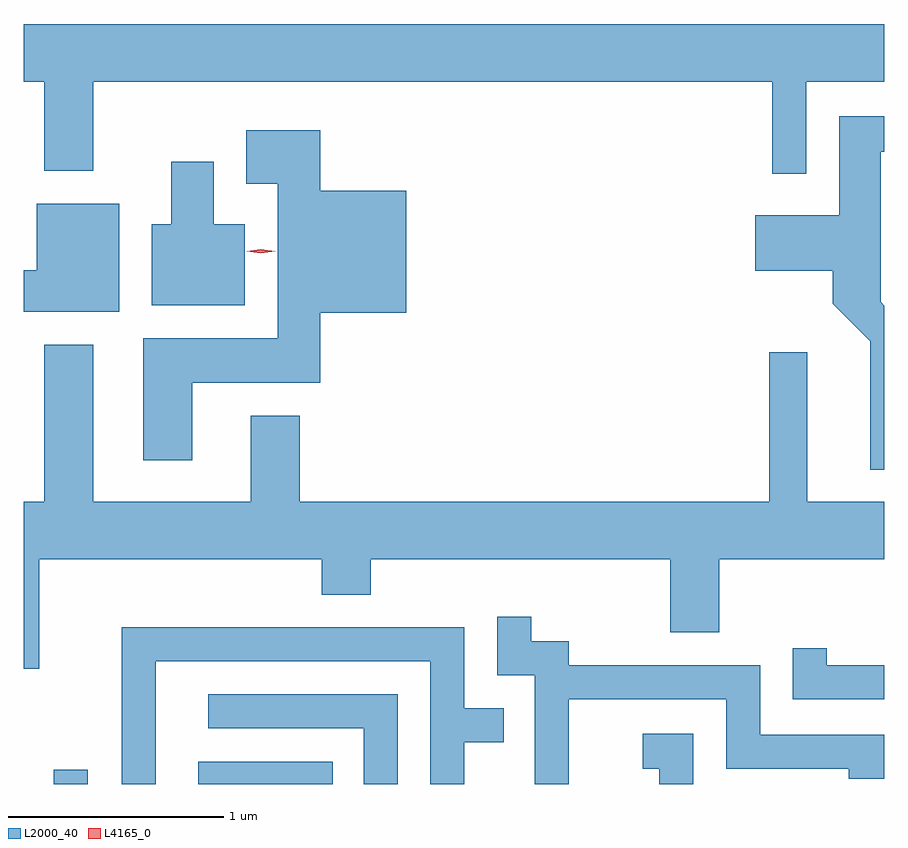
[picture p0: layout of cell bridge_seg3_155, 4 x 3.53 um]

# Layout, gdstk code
import gdstk
lib = gdstk.Library(unit=1e-6, precision=1e-09)
def R(c, l, rs):  # rectangles x0, y0, x1, y1
    for r in rs: c.add(gdstk.rectangle(r[:2], r[2:], *l))
def P(c, l, *ps):  # polygons
    for p in ps: c.add(gdstk.Polygon(p, *l))
L2000_40 = (2000, 40)
L4165_0 = (4165, 0)

bridge_seg3_155 = lib.new_cell('bridge_seg3_155')
R(bridge_seg3_155, L2000_40, [(828.826,1207.111,828.984,1207.178), (829.496,1207.111,830.123,1207.214)])
P(bridge_seg3_155, L2000_40, [(832.324,1210.376),(832.686,1210.376),(832.686,1210.644),(828.686,1210.644),(828.686,1210.376),(828.781,1210.376),(828.781,1209.961),(829.009,1209.961),(829.009,1210.376),(832.166,1210.376),(832.166,1209.948),(832.324,1209.948)],
  [(832.686,1209.335),(832.669,1209.352),(832.669,1210.051),(832.686,1210.051),(832.686,1210.214),(832.476,1210.214),(832.476,1209.754),(832.086,1209.754),(832.086,1209.496),(832.446,1209.496),(832.446,1209.344),(832.621,1209.169),(832.621,1208.573),(832.686,1208.573)],
  [(829.469,1208.976),(830.064,1208.976),(830.064,1209.301),(830.464,1209.301),(830.464,1209.869),(830.064,1209.869),(830.064,1210.149),(829.721,1210.149),(829.721,1209.901),(829.866,1209.901),(829.866,1209.184),(829.241,1209.184),(829.241,1208.616),(829.469,1208.616)],
  [(829.714,1209.714),(829.569,1209.714),(829.569,1210.004),(829.371,1210.004),(829.371,1209.714),(829.281,1209.714),(829.281,1209.336),(829.714,1209.336)],
  [(829.129,1209.809),(828.746,1209.809),(828.746,1209.499),(828.686,1209.499),(828.686,1209.306),(829.129,1209.306)],
  [(828.759,1208.156),(830.071,1208.156),(830.071,1207.991),(830.299,1207.991),(830.299,1208.156),(831.691,1208.156),(831.691,1207.816),(831.919,1207.816),(831.919,1208.156),(832.686,1208.156),(832.686,1208.424),(832.329,1208.424),(832.329,1209.119),(832.151,1209.119),(832.151,1208.424),(829.969,1208.424),(829.969,1208.824),(829.741,1208.824),(829.741,1208.424),(829.009,1208.424),(829.009,1209.154),(828.781,1209.154),(828.781,1208.424),(828.686,1208.424),(828.686,1207.646),(828.759,1207.646)],
  [(831.219,1207.506),(831.951,1207.506),(831.951,1207.181),(832.521,1207.181),(832.521,1207.136),(832.686,1207.136),(832.686,1207.339),(832.109,1207.339),(832.109,1207.664),(831.219,1207.664),(831.219,1207.774),(831.044,1207.774),(831.044,1207.888),(830.886,1207.888),(830.886,1207.616),(831.061,1207.616),(831.061,1207.111),(831.219,1207.111)],
  [(829.299,1207.681),(830.576,1207.681),(830.576,1207.111),(830.734,1207.111),(830.734,1207.306),(830.918,1207.306),(830.918,1207.464),(830.734,1207.464),(830.734,1207.839),(829.141,1207.839),(829.141,1207.111),(829.299,1207.111)],
  [(832.686,1207.664),(832.419,1207.664),(832.419,1207.743),(832.261,1207.743),(832.261,1207.506),(832.686,1207.506)],
  [(830.424,1207.529),(829.543,1207.529),(829.543,1207.371),(830.266,1207.371),(830.266,1207.111),(830.424,1207.111)],
  [(831.799,1207.344),(831.563,1207.344),(831.563,1207.181),(831.641,1207.181),(831.641,1207.111),(831.799,1207.111)])
P(bridge_seg3_155, L4165_0, [(829.788,1209.578),(829.722,1209.587),(829.722,1209.588),(829.722,1209.588),(829.788,1209.598),(829.854,1209.588),(829.854,1209.588),(829.854,1209.587)])

lib.write_gds('bridge_seg3_155.gds')
